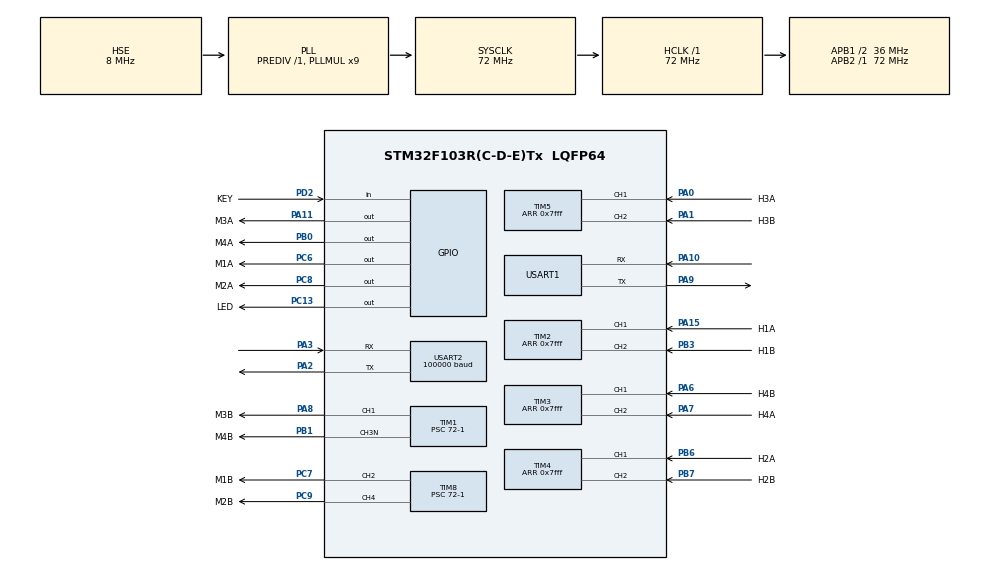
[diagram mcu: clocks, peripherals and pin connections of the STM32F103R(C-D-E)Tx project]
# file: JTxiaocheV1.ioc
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Dma.Request0=USART2_RX
Dma.USART2_RX.0.Direction=DMA_PERIPH_TO_MEMORY
Dma.USART2_RX.0.Instance=DMA1_Channel6
Dma.USART2_RX.0.MemDataAlignment=DMA_MDATAALIGN_BYTE
Dma.USART2_RX.0.MemInc=DMA_MINC_ENABLE
Dma.USART2_RX.0.Mode=DMA_CIRCULAR
Dma.USART2_RX.0.PeriphDataAlignment=DMA_PDATAALIGN_BYTE
Dma.USART2_RX.0.PeriphInc=DMA_PINC_DISABLE
Dma.USART2_RX.0.Priority=DMA_PRIORITY_MEDIUM
Mcu.Family=STM32F1
Mcu.Name=STM32F103R(C-D-E)Tx
Mcu.Package=LQFP64
NVIC.DMA1_Channel6_IRQn=true\:0\:0\:false\:false\:true\:false\:true
NVIC.PriorityGroup=NVIC_PRIORITYGROUP_4
NVIC.TIM2_IRQn=true\:0\:0\:false\:false\:true\:true\:true
NVIC.TIM6_IRQn=true\:3\:0\:true\:false\:true\:true\:true
NVIC.USART1_IRQn=true\:1\:0\:true\:false\:true\:true\:true
NVIC.USART2_IRQn=true\:0\:0\:false\:false\:true\:true\:true
PA0-WKUP.GPIO_Label=H3A
PA0-WKUP.Signal=S_TIM5_CH1
PA1.GPIO_Label=H3B
PA1.Signal=S_TIM5_CH2
PA10.Mode=Asynchronous
PA10.Signal=USART1_RX
PA11.GPIO_Label=M3A
PA11.GPIO_Speed=GPIO_SPEED_FREQ_HIGH
PA11.Signal=GPIO_Output
PA13.Mode=Serial_Wire
PA13.Signal=SYS_JTMS-SWDIO
PA14.Mode=Serial_Wire
PA14.Signal=SYS_JTCK-SWCLK
PA15.GPIO_Label=H1A
PA15.GPIO_PuPd=GPIO_NOPULL
PA15.Signal=S_TIM2_CH1_ETR
PA2.Mode=Asynchronous
PA2.Signal=USART2_TX
PA3.Mode=Asynchronous
PA3.Signal=USART2_RX
PA6.GPIO_Label=H4B
PA6.Signal=S_TIM3_CH1
PA7.GPIO_Label=H4A
PA7.GPIO_PuPd=GPIO_NOPULL
PA7.Signal=S_TIM3_CH2
PA8.GPIO_Label=M3B
PA8.Signal=S_TIM1_CH1
PA9.Mode=Asynchronous
PA9.Signal=USART1_TX
PB0.GPIO_Label=M4A
PB0.GPIO_Speed=GPIO_SPEED_FREQ_HIGH
PB0.Signal=GPIO_Output
PB1.GPIO_Label=M4B
PB1.Mode=PWM Generation3 CH3N
PB1.Signal=TIM1_CH3N
PB3.GPIO_Label=H1B
PB3.Signal=S_TIM2_CH2
PB6.GPIO_Label=H2A
PB6.GPIO_PuPd=GPIO_NOPULL
PB6.Signal=S_TIM4_CH1
PB7.GPIO_Label=H2B
PB7.Signal=S_TIM4_CH2
PC13-TAMPER-RTC.GPIO_Label=LED
PC13-TAMPER-RTC.GPIO_Speed=GPIO_SPEED_FREQ_HIGH
PC13-TAMPER-RTC.Signal=GPIO_Output
PC6.GPIO_Label=M1A
PC6.GPIO_Speed=GPIO_SPEED_FREQ_HIGH
PC6.Signal=GPIO_Output
PC7.GPIO_Label=M1B
PC7.Signal=S_TIM8_CH2
PC8.GPIO_Label=M2A
PC8.GPIO_Speed=GPIO_SPEED_FREQ_HIGH
PC8.Signal=GPIO_Output
PC9.GPIO_Label=M2B
PC9.Signal=S_TIM8_CH4
PD0-OSC_IN.Mode=HSE-External-Oscillator
PD0-OSC_IN.Signal=RCC_OSC_IN
PD1-OSC_OUT.Mode=HSE-External-Oscillator
PD1-OSC_OUT.Signal=RCC_OSC_OUT
PD2.GPIO_Label=KEY
PD2.Signal=GPIO_Input
ProjectManager.HeapSize=0x200
ProjectManager.StackSize=0x400
ProjectManager.TargetToolchain=MDK-ARM V5.32
RCC.AHBFreq_Value=72000000
RCC.APB1CLKDivider=RCC_HCLK_DIV2
RCC.APB1Freq_Value=36000000
RCC.APB1TimFreq_Value=72000000
RCC.APB2Freq_Value=72000000
RCC.APB2TimFreq_Value=72000000
RCC.HCLKFreq_Value=72000000
RCC.PLLMUL=RCC_PLL_MUL9
RCC.PLLSourceVirtual=RCC_PLLSOURCE_HSE
RCC.SYSCLKFreq_VALUE=72000000
RCC.SYSCLKSource=RCC_SYSCLKSOURCE_PLLCLK
RCC.USBFreq_Value=72000000
SH.S_TIM1_CH1.0=TIM1_CH1,PWM Generation1 CH1
SH.S_TIM2_CH1_ETR.0=TIM2_CH1,Encoder_Interface
SH.S_TIM2_CH2.0=TIM2_CH2,Encoder_Interface
SH.S_TIM3_CH1.0=TIM3_CH1,Encoder_Interface
SH.S_TIM3_CH2.0=TIM3_CH2,Encoder_Interface
SH.S_TIM4_CH1.0=TIM4_CH1,Encoder_Interface
SH.S_TIM4_CH2.0=TIM4_CH2,Encoder_Interface
SH.S_TIM5_CH1.0=TIM5_CH1,Encoder_Interface
SH.S_TIM5_CH2.0=TIM5_CH2,Encoder_Interface
SH.S_TIM8_CH2.0=TIM8_CH2,PWM Generation2 CH2
SH.S_TIM8_CH4.0=TIM8_CH4,PWM Generation4 CH4
TIM1.AutoReloadPreload=TIM_AUTORELOAD_PRELOAD_ENABLE
TIM1.Channel-PWM\ Generation1\ CH1=TIM_CHANNEL_1
TIM1.Channel-PWM\ Generation3\ CH3N=TIM_CHANNEL_3
TIM1.Period=1000-1
TIM1.Prescaler=72-1
TIM2.EncoderMode=TIM_ENCODERMODE_TI12
TIM2.Period=0x7fff
TIM3.EncoderMode=TIM_ENCODERMODE_TI12
TIM3.Period=0x7fff
TIM4.EncoderMode=TIM_ENCODERMODE_TI12
TIM4.Period=0x7fff
TIM5.EncoderMode=TIM_ENCODERMODE_TI12
TIM5.Period=0x7fff
TIM6.AutoReloadPreload=TIM_AUTORELOAD_PRELOAD_ENABLE
TIM6.Period=500-1
TIM6.Prescaler=7200-1
TIM8.AutoReloadPreload=TIM_AUTORELOAD_PRELOAD_ENABLE
TIM8.Channel-PWM\ Generation2\ CH2=TIM_CHANNEL_2
TIM8.Channel-PWM\ Generation4\ CH4=TIM_CHANNEL_4
TIM8.Period=1000-1
TIM8.Prescaler=72-1
USART1.VirtualMode=VM_ASYNC
USART2.BaudRate=100000
USART2.Mode=MODE_RX
USART2.Parity=PARITY_EVEN
USART2.VirtualMode=VM_ASYNC
USART2.WordLength=WORDLENGTH_9B
VP_TIM1_VS_ClockSourceINT.Mode=Internal
VP_TIM6_VS_ClockSourceINT.Mode=Enable_Timer
VP_TIM8_VS_ClockSourceINT.Mode=Internal
board=custom

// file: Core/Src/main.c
/* USER CODE BEGIN Header */
/**
  ******************************************************************************
  * @file           : main.c
  * @brief          : Main program body
  ******************************************************************************
  * @attention
  *
  * <h2><center>&copy; Copyright (c) 2023 STMicroelectronics.
  * All rights reserved.</center></h2>
  *
  * This software component is licensed by ST under BSD 3-Clause license,
  * the "License"; You may not use this file except in compliance with the
  * License. You may obtain a copy of the License at:
  *                        opensource.org/licenses/BSD-3-Clause
  *
  ******************************************************************************
  */
/* USER CODE END Header */
#include "main.h"
#include "dma.h"
#include "tim.h"
#include "usart.h"
#include "gpio.h"

/* USER CODE BEGIN Includes */
#include "stdio.h"
#include "motor.h"
#include "yqyPIDAutoTest.h"
#include "flash.h"
#include "HYQY_RECV.h"
#include "DR16.h"
#include "math.h"
/* USER CODE END Includes */

void SystemClock_Config(void);

/* USER CODE BEGIN 0 */
int tempCtrlSpd = 0;
extern int32_t MotorValLab[4][11];
/* USER CODE END 0 */

int main(void)
{
  /* USER CODE BEGIN 1 */
  int16_t speed_X,speed_Y;
  /* USER CODE END 1 */

  /* MCU Configuration--------------------------------------------------------*/

  /* Reset of all peripherals, Initializes the Flash interface and the Systick. */
  HAL_Init();

  /* Configure the system clock */
  SystemClock_Config();

  /* Initialize all configured peripherals */
  MX_GPIO_Init();
  MX_TIM1_Init();
  MX_TIM2_Init();
  MX_TIM3_Init();
  MX_TIM4_Init();
  MX_TIM5_Init();
  MX_TIM8_Init();
  MX_USART1_UART_Init();
  MX_DMA_Init();
  MX_USART2_UART_Init();
  MX_TIM6_Init();
  /* USER CODE BEGIN 2 */
  Motor_Init();
  printf("hello YQY\r\n");

  DR16_Init();

//  TestFlash();

  HAL_Delay(100);

  ReadDataFromLastPage((uint32_t*)MotorValLab, 44);               //默认读取该校准系数。请勿随意更改。
//  AppLogData(MotorValLab);
  HYQY_Recv_Init(&HYQY_recvInfo, 0);
  HAL_Delay(1000);

  if(HAL_GPIO_ReadPin(KEY_GPIO_Port,KEY_Pin) == GPIO_PIN_RESET)   //按下按键后开机，进行校准
  {
    YQY_PID_AutoTest_OneMotor(2);
    YQY_PID_AutoTest_OneMotor(3);
    YQY_PID_AutoTest_OneMotor(1);
    YQY_PID_AutoTest_OneMotor(0);
  }

  //while(HAL_GPIO_ReadPin(KEY_GPIO_Port,KEY_Pin) == GPIO_PIN_SET);

  printf("startRun\r\n");

  HAL_Delay(1000);
  //YQY_PID_AutoTest_OneMotor(0);

  /* USER CODE END 2 */

  /* Infinite loop */
  /* USER CODE BEGIN WHILE */
  while (1)
  {
    if(IsReceiveDataOK(&HYQY_recvInfo))       //进行接收测试：如果接收到数据
    {
      ShowDecodeResult(&HYQY_recvInfo);       //打印出数据

      switch(HYQY_recvInfo.recvRes[0])
      {
        case 1:                               //操作1，直接电机速度PID控制
        {
          motor[0].spd_set = HYQY_recvInfo.recvRes[1] - 100;
          motor[1].spd_set = HYQY_recvInfo.recvRes[2] - 100;
          motor[2].spd_set = HYQY_recvInfo.recvRes[3] - 100;
          motor[3].spd_set = HYQY_recvInfo.recvRes[4] - 100;
          printf("Motor Spd Update\r\n");
          break;
        }
        case 2:                               //操作2，电机关闭
        {
          motor[0].spd_set = 0;
          motor[1].spd_set = 0;
          motor[2].spd_set = 0;
          motor[3].spd_set = 0;
          printf("Motor Stop\r\n");
          break;
        }
        case 3:                               //操作3，按前进速度和旋转速度走
        {
          speed_X = HYQY_recvInfo.recvRes[1] - 100;
          speed_Y = HYQY_recvInfo.recvRes[2] - 100;

          motor[0].spd_set =  speed_X + speed_Y;
          motor[1].spd_set =  speed_X - speed_Y;
          motor[2].spd_set = -speed_X + speed_Y;
          motor[3].spd_set = -speed_X - speed_Y;

          printf("Motor Stop\r\n");
          break;
        }

        default:
        {
          printf("Error Options For Code:%d\r\n", HYQY_recvInfo.recvRes[0]);
          break;
        }
      }
    }

    if(HAL_GetTick() - remote_control.LastTime < 1000)
    {
      if((remote_control.ch4 <= 660) && (remote_control.ch4 >= -660))
      {
        if((remote_control.ch4 <= 30) && (remote_control.ch4 >= -30))speed_X = 0;
        else  speed_X = remote_control.ch4 / 7.0;

        if((remote_control.ch3 <= 30) && (remote_control.ch3 >= -30))speed_Y = 0;
        else  speed_Y = remote_control.ch3 / 7.0;

        motor[0].spd_set =  speed_X + speed_Y;
        motor[1].spd_set =  speed_X - speed_Y;
        motor[2].spd_set = -speed_X + speed_Y;
        motor[3].spd_set = -speed_X - speed_Y;

      }
    }
    else if(HAL_GetTick() - remote_control.LastTime < 1200)
    {
      motor[0].spd_set = 0;
      motor[1].spd_set = 0;
      motor[2].spd_set = 0;
      motor[3].spd_set = 0;
    }

    PID_Cal_Handle();
    HAL_Delay(50);
    /* USER CODE END WHILE */

  }
}

void SystemClock_Config(void)
{
  RCC_OscInitTypeDef RCC_OscInitStruct = {0};
  RCC_ClkInitTypeDef RCC_ClkInitStruct = {0};

  /** Initializes the RCC Oscillators according to the specified parameters
  * in the RCC_OscInitTypeDef structure.
  */
  RCC_OscInitStruct.OscillatorType = RCC_OSCILLATORTYPE_HSE;
  RCC_OscInitStruct.HSEState = RCC_HSE_ON;
  RCC_OscInitStruct.HSEPredivValue = RCC_HSE_PREDIV_DIV1;
  RCC_OscInitStruct.HSIState = RCC_HSI_ON;
  RCC_OscInitStruct.PLL.PLLState = RCC_PLL_ON;
  RCC_OscInitStruct.PLL.PLLSource = RCC_PLLSOURCE_HSE;
  RCC_OscInitStruct.PLL.PLLMUL = RCC_PLL_MUL9;
  if (HAL_RCC_OscConfig(&RCC_OscInitStruct) != HAL_OK)
  {
    Error_Handler();
  }
  /** Initializes the CPU, AHB and APB buses clocks
  */
  RCC_ClkInitStruct.ClockType = RCC_CLOCKTYPE_HCLK|RCC_CLOCKTYPE_SYSCLK
                              |RCC_CLOCKTYPE_PCLK1|RCC_CLOCKTYPE_PCLK2;
  RCC_ClkInitStruct.SYSCLKSource = RCC_SYSCLKSOURCE_PLLCLK;
  RCC_ClkInitStruct.AHBCLKDivider = RCC_SYSCLK_DIV1;
  RCC_ClkInitStruct.APB1CLKDivider = RCC_HCLK_DIV2;
  RCC_ClkInitStruct.APB2CLKDivider = RCC_HCLK_DIV1;

  if (HAL_RCC_ClockConfig(&RCC_ClkInitStruct, FLASH_LATENCY_2) != HAL_OK)
  {
    Error_Handler();
  }
}

/* USER CODE BEGIN 4 */
extern uint8_t UartRecvBuff;
void HAL_UART_RxCpltCallback(UART_HandleTypeDef *husart)
{
  if(husart->Instance == USART1)                    //如果串口1接收到数据
  {
    HYQY_Recv_Handle(&HYQY_recvInfo,UartRecvBuff);  //调用该句柄进行解码
    HAL_UART_Receive_IT(&huart1,&UartRecvBuff,1);   //继续进行接收
  }
  /* 判断是哪个串口触发的中断 */
	if(husart ->Instance == USART2)										//遥控器发回来的数据
	{
		DR16_callBackHandle();
	}
}

/* USER CODE END 4 */

void Error_Handler(void)
{
  __disable_irq();
  while (1)
  {
  }
}

/************************ (C) COPYRIGHT STMicroelectronics *****END OF FILE****/
